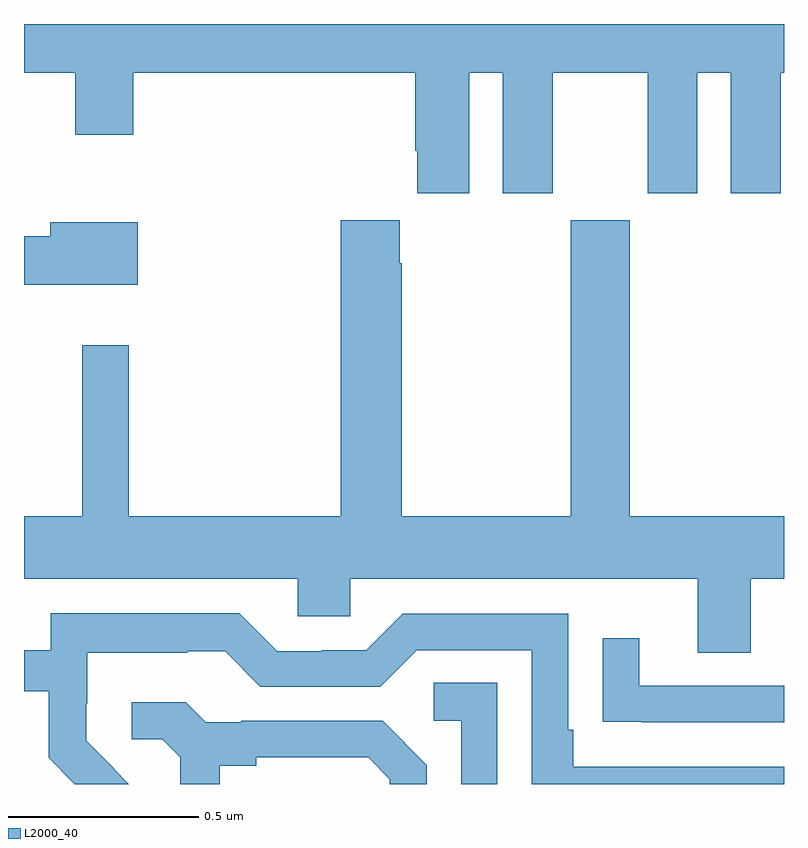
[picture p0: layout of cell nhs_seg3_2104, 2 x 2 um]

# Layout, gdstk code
import gdstk
lib = gdstk.Library(unit=1e-6, precision=1e-09)
def P(c, l, *ps):  # polygons
    for p in ps: c.add(gdstk.Polygon(p, *l))
L2000_40 = (2000, 40)

nhs_seg3_2104 = lib.new_cell('nhs_seg3_2104')
P(nhs_seg3_2104, L2000_40, [(138.172,678.272),(138.26,678.272),(138.26,677.955),(138.391,677.955),(138.391,678.272),(138.641,678.272),(138.641,677.955),(138.772,677.955),(138.772,678.272),(138.86,678.272),(138.86,677.955),(138.991,677.955),(138.991,678.272),(139,678.272),(139,678.4),(137,678.4),(137,678.272),(137.135,678.272),(137.135,678.108),(137.288,678.108),(137.288,678.272),(138.029,678.272),(138.029,678.067),(138.035,678.067),(138.035,677.955),(138.172,677.955)],
  [(138.913,676.94),(139,676.94),(139,677.104),(138.594,677.104),(138.594,677.884),(138.439,677.884),(138.439,677.104),(137.994,677.104),(137.994,677.771),(137.989,677.771),(137.989,677.884),(137.834,677.884),(137.834,677.104),(137.275,677.104),(137.275,677.554),(137.153,677.554),(137.153,677.104),(137,677.104),(137,676.94),(137.721,676.94),(137.721,676.842),(137.859,676.842),(137.859,676.94),(138.773,676.94),(138.773,676.746),(138.913,676.746)],
  [(137.299,677.878),(137.069,677.878),(137.069,677.842),(137,677.842),(137,677.714),(137.299,677.714)],
  [(137.237,676.439),(137.238,676.44),(137.164,676.514),(137.164,676.611),(137.166,676.611),(137.166,676.745),(137.429,676.745),(137.429,676.749),(137.529,676.749),(137.622,676.656),(137.937,676.656),(138.033,676.752),(138.336,676.752),(138.336,676.4),(139,676.4),(139,676.446),(138.445,676.446),(138.445,676.543),(138.432,676.543),(138.432,676.848),(137.997,676.848),(137.901,676.752),(137.783,676.752),(137.783,676.749),(137.667,676.749),(137.567,676.849),(137.07,676.849),(137.07,676.752),(137,676.752),(137,676.644),(137.065,676.644),(137.065,676.469),(137.134,676.4),(137.276,676.4)],
  [(139,676.659),(138.619,676.659),(138.619,676.783),(138.523,676.783),(138.523,676.564),(138.625,676.564),(138.625,676.563),(139,676.563)],
  [(138.246,676.667),(138.078,676.667),(138.078,676.566),(138.15,676.566),(138.15,676.4),(138.246,676.4)],
  [(137.515,676.448),(137.611,676.448),(137.611,676.47),(137.906,676.47),(137.963,676.413),(137.963,676.4),(138.06,676.4),(138.06,676.45),(137.944,676.566),(137.572,676.566),(137.572,676.563),(137.478,676.563),(137.426,676.615),(137.283,676.615),(137.283,676.518),(137.364,676.518),(137.411,676.471),(137.411,676.4),(137.515,676.4)])

lib.write_gds('nhs_seg3_2104.gds')
